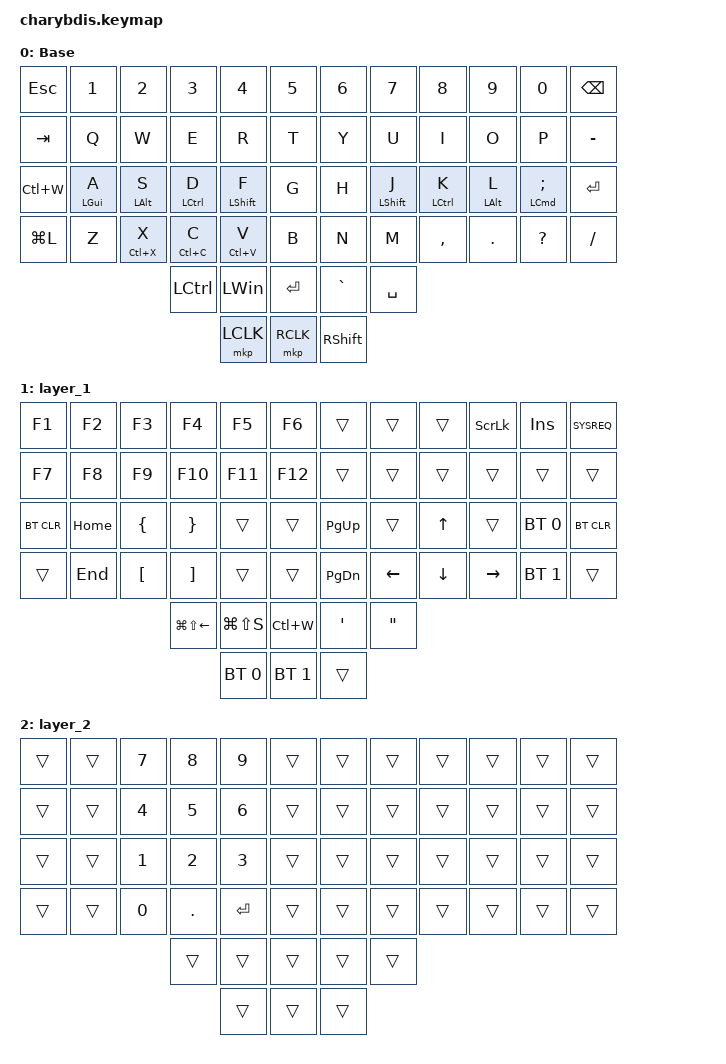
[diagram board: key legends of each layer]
#include <dt-bindings/zmk/mouse.h>
#include <behaviors.dtsi>
#include <dt-bindings/zmk/bt.h>
#include <dt-bindings/zmk/keys.h>
#include <dt-bindings/zmk/pointing.h>

&bt {
};

// 기본 설정

&lt {
    tapping-term-ms = <200>;
    flavor = "balanced";
    quick-tap-ms = <150>;
};

// 콤보 정의

/ {
    combos {
        compatible = "zmk,combos";

        R_ALT {
            bindings = <&kp RIGHT_ALT>;
            key-positions = <53 49>;
        };

        Capslock {
            bindings = <&kp CAPSLOCK>;
            key-positions = <50 54>;
        };

        R_CTRL {
            bindings = <&kp RCTRL>;
            key-positions = <55 51>;
        };

        DE {
            bindings = <&kp DELETE>;
            key-positions = <15 16>;
        };

        ENT {
            bindings = <&kp ENTER>;
            key-positions = <27 28>;
        };
    };

    keymap {
        compatible = "zmk,keymap";

        Base {
            bindings = <
&kp ESC    &kp N1          &kp N2          &kp N3       &kp N4        &kp N5       &kp N6           &kp N7       &kp N8       &kp N9          &kp N0              &kp BSPC
&kp TAB    &kp Q           &kp W           &kp E        &kp R         &kp T        &kp Y            &kp U        &kp I        &kp O           &kp P               &kp MINUS
&kp LC(W)  &mt LEFT_GUI A  &mt LEFT_ALT S  &mt LCTRL D  &mt LSHFT F   &kp G        &kp H            &mt LSHFT J  &mt LCTRL K  &mt LEFT_ALT L  &mt LCMD SEMICOLON  &kp ENTER
&kp LG(L)  &kp Z           &mt LC(X) X     &mt LC(C) C  &mt LC(V) V   &kp B        &kp N            &kp M        &kp COMMA    &kp DOT         &kp QUESTION        &kp SLASH
                                           &kp LCTRL    &kp LEFT_WIN  &kp ENTER    &kp GRAVE        &kp SPACE
                                                        &mkp LCLK     &mkp RCLK    &kp RIGHT_SHIFT
            >;

            trackball-bindings = <&tmv_coarse>;
        };

        layer_1 {
            bindings = <
&kp F1      &kp F2    &kp F3            &kp F4                  &kp F5         &kp F6          &trans         &trans             &trans          &kp SCROLLLOCK   &kp INS       &kp SYSREQ
&kp F7      &kp F8    &kp F9            &kp F10                 &kp F11        &kp F12         &trans         &trans             &trans          &trans           &trans        &trans
&bt BT_CLR  &kp HOME  &kp LEFT_BRACE    &kp RIGHT_BRACE         &trans         &trans          &kp PAGE_UP    &trans             &kp UP_ARROW    &trans           &bt BT_SEL 0  &bt BT_CLR
&trans      &kp END   &kp LEFT_BRACKET  &kp RIGHT_BRACKET       &trans         &trans          &kp PAGE_DOWN  &kp LEFT_ARROW     &kp DOWN_ARROW  &kp RIGHT_ARROW  &bt BT_SEL 1  &trans
                                        &kp LG(LS(LEFT_ARROW))  &kp LG(LS(S))  &kp LC(W)       &kp SQT        &kp DOUBLE_QUOTES
                                                                &bt BT_SEL 0   &bt BT_SEL 1    &trans
            >;
        };

        layer_2 {
            bindings = <
&trans  &trans  &kp N7  &kp N8   &kp N9   &trans    &trans  &trans  &trans  &trans  &trans  &trans
&trans  &trans  &kp N4  &kp N5   &kp N6   &trans    &trans  &trans  &trans  &trans  &trans  &trans
&trans  &trans  &kp N1  &kp N2   &kp N3   &trans    &trans  &trans  &trans  &trans  &trans  &trans
&trans  &trans  &kp N0  &kp DOT  &kp RET  &trans    &trans  &trans  &trans  &trans  &trans  &trans
                        &trans   &trans   &trans    &trans  &trans
                                 &trans   &trans    &trans
            >;
        };
    };
};
